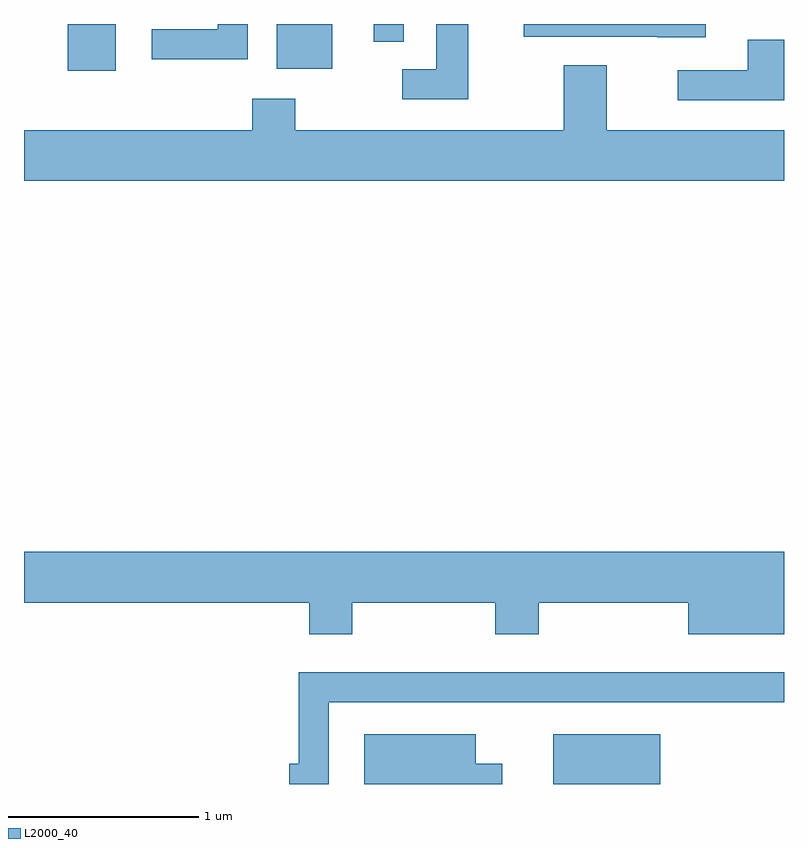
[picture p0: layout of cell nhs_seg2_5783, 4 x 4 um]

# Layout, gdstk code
import gdstk
lib = gdstk.Library(unit=1e-6, precision=1e-09)
def R(c, l, rs):  # rectangles x0, y0, x1, y1
    for r in rs: c.add(gdstk.rectangle(r[:2], r[2:], *l))
def P(c, l, *ps):  # polygons
    for p in ps: c.add(gdstk.Polygon(p, *l))
L2000_40 = (2000, 40)

nhs_seg2_5783 = lib.new_cell('nhs_seg2_5783')
R(nhs_seg2_5783, L2000_40, [(358.396,1051.802,358.959,1052.064), (355.841,1055.556,356.094,1055.802), (356.941,1055.566,357.234,1055.802), (357.451,1055.708,357.609,1055.802)])
P(nhs_seg2_5783, L2000_40, [(357.949,1055.802),(357.781,1055.802),(357.781,1055.564),(357.603,1055.564),(357.603,1055.406),(357.949,1055.406)],
  [(356.789,1055.802),(356.631,1055.802),(356.631,1055.774),(356.283,1055.774),(356.283,1055.616),(356.789,1055.616)],
  [(359.199,1055.802),(358.241,1055.802),(358.241,1055.736),(358.945,1055.736),(358.945,1055.731),(359.199,1055.731)],
  [(359.611,1055.719),(359.421,1055.719),(359.421,1055.559),(359.053,1055.559),(359.053,1055.401),(359.611,1055.401)],
  [(359.611,1055.244),(358.679,1055.244),(358.679,1055.584),(358.451,1055.584),(358.451,1055.244),(357.039,1055.244),(357.039,1055.409),(356.811,1055.409),(356.811,1055.244),(355.611,1055.244),(355.611,1054.976),(359.611,1054.976)],
  [(357.339,1052.756),(358.091,1052.756),(358.091,1052.591),(358.319,1052.591),(358.319,1052.756),(359.106,1052.756),(359.106,1052.591),(359.611,1052.591),(359.611,1053.024),(355.611,1053.024),(355.611,1052.756),(357.111,1052.756),(357.111,1052.591),(357.339,1052.591)],
  [(357.214,1052.231),(359.611,1052.231),(359.611,1052.389),(357.056,1052.389),(357.056,1051.909),(357.006,1051.909),(357.006,1051.802),(357.214,1051.802)],
  [(358.129,1051.909),(357.989,1051.909),(357.989,1052.064),(357.401,1052.064),(357.401,1051.802),(358.129,1051.802)])

lib.write_gds('nhs_seg2_5783.gds')
